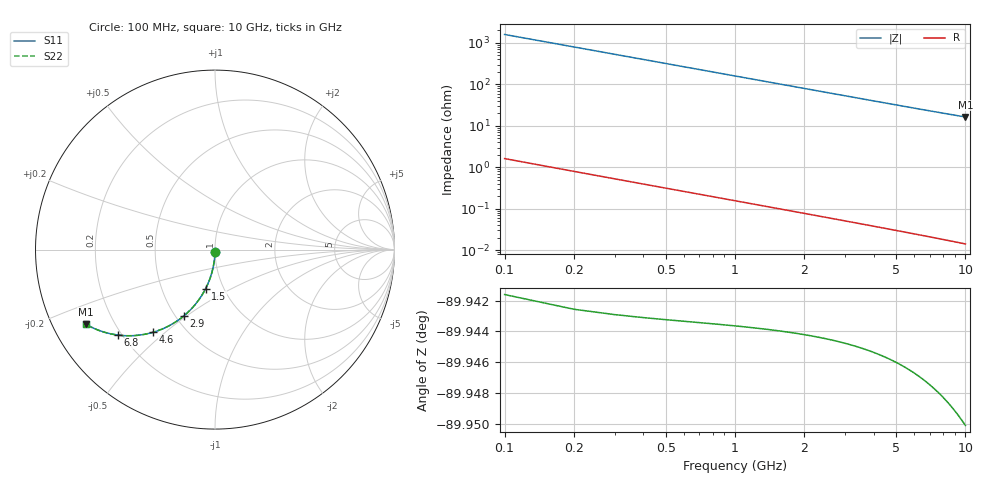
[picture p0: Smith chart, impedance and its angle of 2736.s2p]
# Hz S RI R 50.00
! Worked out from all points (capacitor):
!   100 points, 100 MHz to 10 GHz, reference 50 ohm
!   read as one part in shunt: C = 1 pF near 100 MHz
!   lowest |Z| = 16.3 ohm at 10 GHz (marker M1)
!   S11 on the Smith chart (normalised r, x): 100 MHz: 1.00, -0.03; 1.5 GHz: 0.82, -0.38; 2.9 GHz: 0.55, -0.49; 4.6 GHz: 0.33, -0.46; 6.8 GHz: 0.19, -0.37; 10 GHz: 0.10, -0.27
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1e8  -0.000195 -0.0154  0.9997 -0.016  0.9997 -0.016  -0.000195 -0.0154
2e8  -0.00095 -0.0308  0.9989 -0.032  0.9989 -0.032  -0.00095 -0.0308
3e8  -0.0022 -0.0461  0.9977 -0.048  0.9977 -0.048  -0.0022 -0.0461
4e8  -0.00393 -0.0614  0.9959 -0.0639  0.9959 -0.0639  -0.00393 -0.0614
5e8  -0.00615 -0.0766  0.9937 -0.0797  0.9937 -0.0797  -0.00615 -0.0766
6e8  -0.00884 -0.0916  0.991 -0.0953  0.991 -0.0953  -0.00884 -0.0916
7e8  -0.012 -0.1066  0.9879 -0.1109  0.9879 -0.1109  -0.012 -0.1066
9e8  -0.0197 -0.1359  0.9801 -0.1415  0.9801 -0.1415  -0.0197 -0.1359
1.2e9  -0.0345 -0.1785  0.9653 -0.1859  0.9653 -0.1859  -0.0345 -0.1785
1.5e9  -0.0529 -0.2189  0.9469 -0.2281  0.9469 -0.2281  -0.0529 -0.2189
1.8e9  -0.0745 -0.2566  0.9253 -0.2678  0.9253 -0.2678  -0.0745 -0.2566
2.3e9  -0.1162 -0.313  0.8835 -0.3273  0.8835 -0.3273  -0.1162 -0.313
2.9e9  -0.1732 -0.369  0.8265 -0.387  0.8265 -0.387  -0.1732 -0.369
3.4e9  -0.2238 -0.4058  0.7758 -0.427  0.7758 -0.427  -0.2238 -0.4058
4e9  -0.2857 -0.4389  0.7138 -0.4639  0.7138 -0.4639  -0.2857 -0.4389
4.6e9  -0.3465 -0.461  0.6529 -0.4899  0.6529 -0.4899  -0.3465 -0.461
5.1e9  -0.3951 -0.4724  0.6042 -0.5045  0.6042 -0.5045  -0.3951 -0.4724
5.9e9  -0.4674 -0.4798  0.5318 -0.5171  0.5318 -0.5171  -0.4674 -0.4798
6.7e9  -0.5319 -0.4772  0.4671 -0.5197  0.4671 -0.5197  -0.5319 -0.4772
6.8e9  -0.5394 -0.4763  0.4595 -0.5195  0.4595 -0.5195  -0.5394 -0.4763
8.4e9  -0.6431 -0.4514  0.3553 -0.5052  0.3553 -0.5052  -0.6431 -0.4514
1e10  -0.7205 -0.4153  0.2773 -0.4801  0.2773 -0.4801  -0.7205 -0.4153
